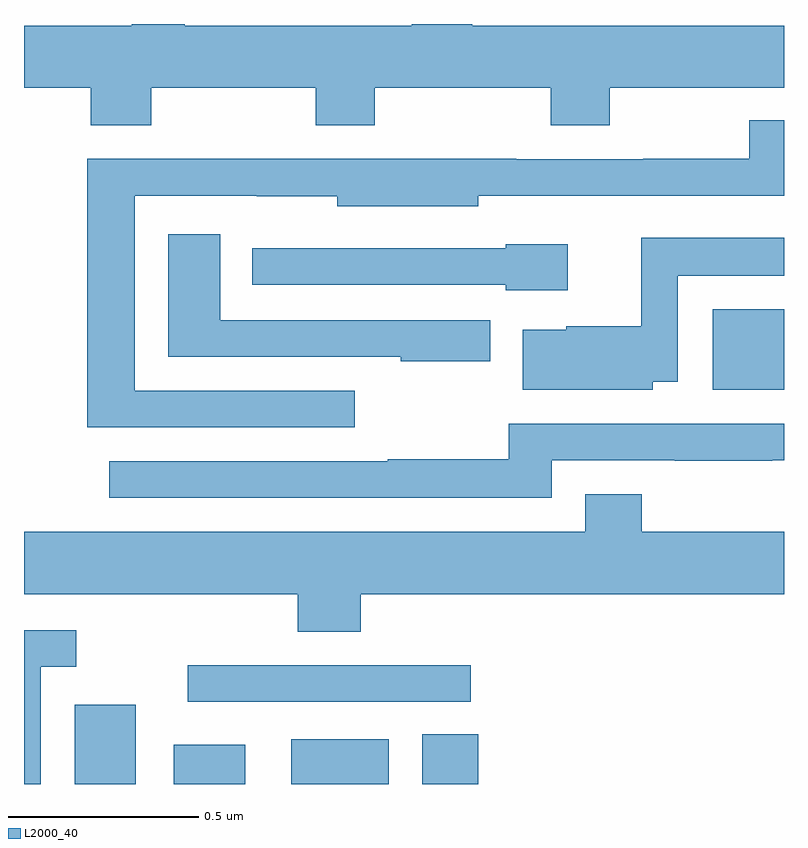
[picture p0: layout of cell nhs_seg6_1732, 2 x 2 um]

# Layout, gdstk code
import gdstk
lib = gdstk.Library(unit=1e-6, precision=1e-09)
def R(c, l, rs):  # rectangles x0, y0, x1, y1
    for r in rs: c.add(gdstk.rectangle(r[:2], r[2:], *l))
def P(c, l, *ps):  # polygons
    for p in ps: c.add(gdstk.Polygon(p, *l))
L2000_40 = (2000, 40)

nhs_seg6_1732 = lib.new_cell('nhs_seg6_1732')
R(nhs_seg6_1732, L2000_40, [(133.133,949.5,133.294,949.708), (133.394,949.5,133.582,949.603), (133.703,949.5,133.96,949.618), (134.048,949.5,134.195,949.631), (133.431,949.716,134.176,949.812), (134.813,950.537,135,950.749)])
P(nhs_seg6_1732, L2000_40, [(133.335,951.332),(133.768,951.332),(133.768,951.233),(133.923,951.233),(133.923,951.332),(134.386,951.332),(134.386,951.233),(134.541,951.233),(134.541,951.332),(135,951.332),(135,951.496),(134.18,951.496),(134.18,951.5),(134.02,951.5),(134.02,951.496),(133.423,951.496),(133.423,951.5),(133.283,951.5),(133.283,951.496),(133,951.496),(133,951.332),(133.175,951.332),(133.175,951.233),(133.335,951.233)],
  [(133.87,950.535),(133.291,950.535),(133.291,951.048),(133.612,951.048),(133.612,951.047),(133.824,951.047),(133.824,951.02),(134.196,951.02),(134.196,951.048),(135,951.048),(135,951.247),(134.908,951.247),(134.908,951.146),(134.629,951.146),(134.629,951.144),(134.296,951.144),(134.296,951.146),(133.166,951.146),(133.166,950.439),(133.87,950.439)],
  [(134.227,950.721),(133.516,950.721),(133.516,950.947),(133.379,950.947),(133.379,950.625),(133.991,950.625),(133.991,950.612),(134.227,950.612)],
  [(134.655,950.558),(134.721,950.558),(134.721,950.837),(135,950.837),(135,950.938),(134.624,950.938),(134.624,950.704),(134.427,950.704),(134.427,950.695),(134.312,950.695),(134.312,950.537),(134.655,950.537)],
  [(134.431,950.92),(134.268,950.92),(134.268,950.91),(133.601,950.91),(133.601,950.814),(134.268,950.814),(134.268,950.799),(134.431,950.799)],
  [(134.389,950.352),(134.713,950.352),(134.713,950.351),(134.969,950.351),(134.969,950.352),(135,950.352),(135,950.448),(134.275,950.448),(134.275,950.354),(133.957,950.354),(133.957,950.349),(133.224,950.349),(133.224,950.253),(134.389,950.253)],
  [(133.886,950),(135,950),(135,950.164),(134.625,950.164),(134.625,950.263),(134.477,950.263),(134.477,950.164),(133,950.164),(133,950),(133.721,950),(133.721,949.901),(133.886,949.901)],
  [(133.044,949.809),(133.138,949.809),(133.138,949.905),(133,949.905),(133,949.5),(133.044,949.5)])

lib.write_gds('nhs_seg6_1732.gds')
